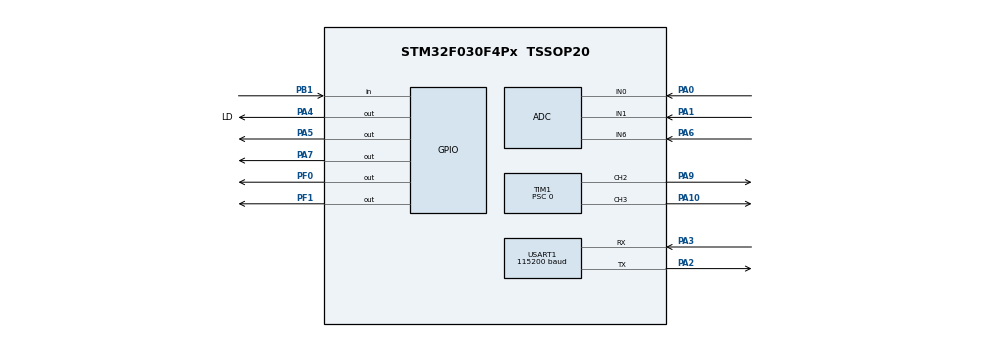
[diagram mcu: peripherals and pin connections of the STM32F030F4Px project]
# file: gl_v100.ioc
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ADC.DMAContinuousRequests=ENABLE
ADC.ExternalTrigConv=ADC_EXTERNALTRIGCONV_T3_TRGO
ADC.SamplingTime=ADC_SAMPLETIME_7CYCLES_5
Dma.ADC.0.Direction=DMA_PERIPH_TO_MEMORY
Dma.ADC.0.Instance=DMA1_Channel1
Dma.ADC.0.MemDataAlignment=DMA_MDATAALIGN_HALFWORD
Dma.ADC.0.MemInc=DMA_MINC_ENABLE
Dma.ADC.0.Mode=DMA_CIRCULAR
Dma.ADC.0.PeriphDataAlignment=DMA_PDATAALIGN_HALFWORD
Dma.ADC.0.PeriphInc=DMA_PINC_DISABLE
Dma.ADC.0.Priority=DMA_PRIORITY_LOW
Dma.Request0=ADC
Mcu.Family=STM32F0
Mcu.Name=STM32F030F4Px
Mcu.Package=TSSOP20
NVIC.DMA1_Channel1_IRQn=true\:1\:0\:true\:false\:true\:false
PA0.Mode=IN0
PA0.Signal=ADC_IN0
PA1.Mode=IN1
PA1.Signal=ADC_IN1
PA10.Signal=S_TIM1_CH3
PA13.Mode=Serial_Wire
PA13.Signal=SYS_SWDIO
PA14.Mode=Serial_Wire
PA14.Signal=SYS_SWCLK
PA2.GPIO_PuPd=GPIO_PULLUP
PA2.Mode=Asynchronous
PA2.Signal=USART1_TX
PA3.GPIO_PuPd=GPIO_PULLUP
PA3.Mode=Asynchronous
PA3.Signal=USART1_RX
PA4.GPIO_Label=LD
PA4.Signal=GPIO_Output
PA5.Signal=GPIO_Output
PA6.Mode=IN6
PA6.Signal=ADC_IN6
PA7.Signal=GPIO_Output
PA9.Signal=S_TIM1_CH2
PB1.Signal=GPIO_Input
PF0-OSC_IN.Signal=GPIO_Output
PF1-OSC_OUT.Signal=GPIO_Output
ProjectManager.HeapSize=0x200
ProjectManager.StackSize=0x400
ProjectManager.TargetToolchain=MDK-ARM V5
SH.S_TIM1_CH2.0=TIM1_CH2,PWM Generation2 CH2
SH.S_TIM1_CH3.0=TIM1_CH3,PWM Generation3 CH3
TIM1.Channel-PWM\ Generation2\ CH2=TIM_CHANNEL_2
TIM1.Channel-PWM\ Generation3\ CH3=TIM_CHANNEL_3
TIM1.OCMode_PWM-PWM\ Generation2\ CH2=TIM_OCMODE_PWM2
TIM1.OCMode_PWM-PWM\ Generation3\ CH3=TIM_OCMODE_PWM2
TIM1.OCPolarity_2=TIM_OCPOLARITY_LOW
TIM1.OCPolarity_3=TIM_OCPOLARITY_LOW
TIM1.Period=7999
TIM1.Prescaler=0
TIM1.Pulse-PWM\ Generation2\ CH2=3999
TIM1.Pulse-PWM\ Generation3\ CH3=1999
TIM3.Period=999
TIM3.Prescaler=799
TIM3.TIM_MasterOutputTrigger=TIM_TRGO_UPDATE
TIM3.TIM_MasterSlaveMode=TIM_MASTERSLAVEMODE_ENABLE
USART1.BaudRate=115200
USART1.VirtualMode-Asynchronous=VM_ASYNC
VP_TIM1_VS_ClockSourceINT.Mode=Internal
VP_TIM3_VS_ClockSourceINT.Mode=Internal
board=custom

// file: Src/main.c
/* USER CODE BEGIN Header */
/**
  ******************************************************************************
  * @file           : main.c
  * @brief          : Main program body
  ******************************************************************************
  ** This notice applies to any and all portions of this file
  * that are not between comment pairs USER CODE BEGIN and
  * USER CODE END. Other portions of this file, whether
  * inserted by the user or by software development tools
  * are owned by their respective copyright owners.
  *
  * COPYRIGHT(c) 2018 STMicroelectronics
  *
  * Redistribution and use in source and binary forms, with or without modification,
  * are permitted provided that the following conditions are met:
  *   1. Redistributions of source code must retain the above copyright notice,
  *      this list of conditions and the following disclaimer.
  *   2. Redistributions in binary form must reproduce the above copyright notice,
  *      this list of conditions and the following disclaimer in the documentation
  *      and/or other materials provided with the distribution.
  *   3. Neither the name of STMicroelectronics nor the names of its contributors
  *      may be used to endorse or promote products derived from this software
  *      without specific prior written permission.
  *
  * THIS SOFTWARE IS PROVIDED BY THE COPYRIGHT HOLDERS AND CONTRIBUTORS "AS IS"
  * AND ANY EXPRESS OR IMPLIED WARRANTIES, INCLUDING, BUT NOT LIMITED TO, THE
  * IMPLIED WARRANTIES OF MERCHANTABILITY AND FITNESS FOR A PARTICULAR PURPOSE ARE
  * DISCLAIMED. IN NO EVENT SHALL THE COPYRIGHT HOLDER OR CONTRIBUTORS BE LIABLE
  * FOR ANY DIRECT, INDIRECT, INCIDENTAL, SPECIAL, EXEMPLARY, OR CONSEQUENTIAL
  * DAMAGES (INCLUDING, BUT NOT LIMITED TO, PROCUREMENT OF SUBSTITUTE GOODS OR
  * SERVICES; LOSS OF USE, DATA, OR PROFITS; OR BUSINESS INTERRUPTION) HOWEVER
  * CAUSED AND ON ANY THEORY OF LIABILITY, WHETHER IN CONTRACT, STRICT LIABILITY,
  * OR TORT (INCLUDING NEGLIGENCE OR OTHERWISE) ARISING IN ANY WAY OUT OF THE USE
  * OF THIS SOFTWARE, EVEN IF ADVISED OF THE POSSIBILITY OF SUCH DAMAGE.
  *
  ******************************************************************************
  */
/* USER CODE END Header */

#include "main.h"

ADC_HandleTypeDef hadc;
DMA_HandleTypeDef hdma_adc;

TIM_HandleTypeDef htim1;
TIM_HandleTypeDef htim3;

UART_HandleTypeDef huart1;

/* USER CODE BEGIN PV */
uint16_t adc_read_buf[12];
/* USER CODE END PV */

void SystemClock_Config(void);
static void MX_GPIO_Init(void);
static void MX_DMA_Init(void);
static void MX_ADC_Init(void);
static void MX_USART1_UART_Init(void);
static void MX_TIM1_Init(void);
static void MX_TIM3_Init(void);
/* USER CODE BEGIN PFP */
uint8_t h_to_ascii(uint8_t in_hex);
uint8_t adc_print(uint8_t *acc_buf);

/* USER CODE END PFP */

/* USER CODE BEGIN 0 */
void HAL_ADC_ConvCpltCallback(ADC_HandleTypeDef* hadc)
{
    HAL_GPIO_TogglePin(LD_GPIO_Port,LD_Pin);
}

uint8_t adc_print(uint8_t *acc_buf)
{
	uint8_t *p_buff,cnt_len;

	p_buff = &acc_buf[0];

	memcpy(p_buff,"ADC0:",5);p_buff+=5;
	*p_buff++ = h_to_ascii((adc_read_buf[0]>>8));
	*p_buff++ = h_to_ascii((adc_read_buf[0]>>4));
	*p_buff++ = h_to_ascii((adc_read_buf[0]>>0));
	*p_buff++ = ' ';
	memcpy(p_buff,"ADC1:",5);p_buff+=5;
	*p_buff++ = h_to_ascii((adc_read_buf[1]>>8));
	*p_buff++ = h_to_ascii((adc_read_buf[1]>>4));
	*p_buff++ = h_to_ascii((adc_read_buf[1]>>0));
	*p_buff++ = ' ';
	memcpy(p_buff,"ADC6:",5);p_buff+=5;
	*p_buff++ = h_to_ascii((adc_read_buf[2]>>8));
	*p_buff++ = h_to_ascii((adc_read_buf[2]>>4));
	*p_buff++ = h_to_ascii((adc_read_buf[2]>>0));
	*p_buff++ = '\r';
	*p_buff++ = '\n';
	*p_buff = '\0';

	return ((uint8_t)(p_buff-&acc_buf[0]));
}

uint8_t h_to_ascii(uint8_t in_hex)
{
	uint8_t cal_val1,rtn_val;
	cal_val1 = (in_hex&0x0F);

	if ((cal_val1 >= 0) && (cal_val1 <= 9))
	{
		rtn_val = cal_val1+'0';
	}
	else if ((cal_val1 >= 0x0A) && (cal_val1 <= 0x0F))
	{
		rtn_val = cal_val1-0x0A+'A';
	}
	else
	{
		rtn_val = 0;
	}
	return rtn_val;
}
/* USER CODE END 0 */

int main(void)
{

  /* MCU Configuration--------------------------------------------------------*/

  /* Reset of all peripherals, Initializes the Flash interface and the Systick. */
  HAL_Init();

  /* Configure the system clock */
  SystemClock_Config();

  /* Initialize all configured peripherals */
  MX_GPIO_Init();
  MX_DMA_Init();
  MX_ADC_Init();
  MX_USART1_UART_Init();
  MX_TIM1_Init();
  MX_TIM3_Init();
  /* USER CODE BEGIN 2 */
	uint8_t tx_str[50] = "Try uart Test~\r\n", cnt_send_uart;

	HAL_ADCEx_Calibration_Start(&hadc);
	HAL_ADC_Start_DMA(&hadc,(uint32_t *)adc_read_buf,3);
	HAL_TIM_Base_Start(&htim3);
	HAL_TIM_PWM_Start(&htim1,TIM_CHANNEL_2);
	HAL_TIM_PWM_Start(&htim1,TIM_CHANNEL_3);
  /* USER CODE END 2 */

  /* Infinite loop */
  /* USER CODE BEGIN WHILE */
  while (1)
  {
		//HAL_GPIO_TogglePin(LD_GPIO_Port,LD_Pin);
		//HAL_UART_Transmit(&huart1,tx_str,16,100);
		cnt_send_uart = adc_print(tx_str);
		HAL_UART_Transmit(&huart1,tx_str,cnt_send_uart,100);
		HAL_Delay(100);
    /* USER CODE END WHILE */

  }
}

void SystemClock_Config(void)
{
  RCC_OscInitTypeDef RCC_OscInitStruct = {0};
  RCC_ClkInitTypeDef RCC_ClkInitStruct = {0};
  RCC_PeriphCLKInitTypeDef PeriphClkInit = {0};

  /**Initializes the CPU, AHB and APB busses clocks
  */
  RCC_OscInitStruct.OscillatorType = RCC_OSCILLATORTYPE_HSI|RCC_OSCILLATORTYPE_HSI14;
  RCC_OscInitStruct.HSIState = RCC_HSI_ON;
  RCC_OscInitStruct.HSI14State = RCC_HSI14_ON;
  RCC_OscInitStruct.HSICalibrationValue = RCC_HSICALIBRATION_DEFAULT;
  RCC_OscInitStruct.HSI14CalibrationValue = 16;
  RCC_OscInitStruct.PLL.PLLState = RCC_PLL_NONE;
  if (HAL_RCC_OscConfig(&RCC_OscInitStruct) != HAL_OK)
  {
    Error_Handler();
  }
  /**Initializes the CPU, AHB and APB busses clocks
  */
  RCC_ClkInitStruct.ClockType = RCC_CLOCKTYPE_HCLK|RCC_CLOCKTYPE_SYSCLK
                              |RCC_CLOCKTYPE_PCLK1;
  RCC_ClkInitStruct.SYSCLKSource = RCC_SYSCLKSOURCE_HSI;
  RCC_ClkInitStruct.AHBCLKDivider = RCC_SYSCLK_DIV1;
  RCC_ClkInitStruct.APB1CLKDivider = RCC_HCLK_DIV1;

  if (HAL_RCC_ClockConfig(&RCC_ClkInitStruct, FLASH_LATENCY_0) != HAL_OK)
  {
    Error_Handler();
  }
  PeriphClkInit.PeriphClockSelection = RCC_PERIPHCLK_USART1;
  PeriphClkInit.Usart1ClockSelection = RCC_USART1CLKSOURCE_PCLK1;
  if (HAL_RCCEx_PeriphCLKConfig(&PeriphClkInit) != HAL_OK)
  {
    Error_Handler();
  }
}

static void MX_ADC_Init(void)
{

  ADC_ChannelConfTypeDef sConfig = {0};

  /**Configure the global features of the ADC (Clock, Resolution, Data Alignment and number of conversion)
  */
  hadc.Instance = ADC1;
  hadc.Init.ClockPrescaler = ADC_CLOCK_ASYNC_DIV1;
  hadc.Init.Resolution = ADC_RESOLUTION_12B;
  hadc.Init.DataAlign = ADC_DATAALIGN_RIGHT;
  hadc.Init.ScanConvMode = ADC_SCAN_DIRECTION_FORWARD;
  hadc.Init.EOCSelection = ADC_EOC_SINGLE_CONV;
  hadc.Init.LowPowerAutoWait = DISABLE;
  hadc.Init.LowPowerAutoPowerOff = DISABLE;
  hadc.Init.ContinuousConvMode = DISABLE;
  hadc.Init.DiscontinuousConvMode = DISABLE;
  hadc.Init.ExternalTrigConv = ADC_EXTERNALTRIGCONV_T3_TRGO;
  hadc.Init.ExternalTrigConvEdge = ADC_EXTERNALTRIGCONVEDGE_RISING;
  hadc.Init.DMAContinuousRequests = ENABLE;
  hadc.Init.Overrun = ADC_OVR_DATA_PRESERVED;
  if (HAL_ADC_Init(&hadc) != HAL_OK)
  {
    Error_Handler();
  }
  /**Configure for the selected ADC regular channel to be converted.
  */
  sConfig.Channel = ADC_CHANNEL_0;
  sConfig.Rank = ADC_RANK_CHANNEL_NUMBER;
  sConfig.SamplingTime = ADC_SAMPLETIME_7CYCLES_5;
  if (HAL_ADC_ConfigChannel(&hadc, &sConfig) != HAL_OK)
  {
    Error_Handler();
  }
  /**Configure for the selected ADC regular channel to be converted.
  */
  sConfig.Channel = ADC_CHANNEL_1;
  if (HAL_ADC_ConfigChannel(&hadc, &sConfig) != HAL_OK)
  {
    Error_Handler();
  }
  /**Configure for the selected ADC regular channel to be converted.
  */
  sConfig.Channel = ADC_CHANNEL_6;
  if (HAL_ADC_ConfigChannel(&hadc, &sConfig) != HAL_OK)
  {
    Error_Handler();
  }

}

static void MX_TIM1_Init(void)
{

  TIM_ClockConfigTypeDef sClockSourceConfig = {0};
  TIM_MasterConfigTypeDef sMasterConfig = {0};
  TIM_OC_InitTypeDef sConfigOC = {0};
  TIM_BreakDeadTimeConfigTypeDef sBreakDeadTimeConfig = {0};

  htim1.Instance = TIM1;
  htim1.Init.Prescaler = 0;
  htim1.Init.CounterMode = TIM_COUNTERMODE_UP;
  htim1.Init.Period = 7999;
  htim1.Init.ClockDivision = TIM_CLOCKDIVISION_DIV1;
  htim1.Init.RepetitionCounter = 0;
  htim1.Init.AutoReloadPreload = TIM_AUTORELOAD_PRELOAD_DISABLE;
  if (HAL_TIM_Base_Init(&htim1) != HAL_OK)
  {
    Error_Handler();
  }
  sClockSourceConfig.ClockSource = TIM_CLOCKSOURCE_INTERNAL;
  if (HAL_TIM_ConfigClockSource(&htim1, &sClockSourceConfig) != HAL_OK)
  {
    Error_Handler();
  }
  if (HAL_TIM_PWM_Init(&htim1) != HAL_OK)
  {
    Error_Handler();
  }
  sMasterConfig.MasterOutputTrigger = TIM_TRGO_RESET;
  sMasterConfig.MasterSlaveMode = TIM_MASTERSLAVEMODE_DISABLE;
  if (HAL_TIMEx_MasterConfigSynchronization(&htim1, &sMasterConfig) != HAL_OK)
  {
    Error_Handler();
  }
  sConfigOC.OCMode = TIM_OCMODE_PWM2;
  sConfigOC.Pulse = 3999;
  sConfigOC.OCPolarity = TIM_OCPOLARITY_LOW;
  sConfigOC.OCNPolarity = TIM_OCNPOLARITY_HIGH;
  sConfigOC.OCFastMode = TIM_OCFAST_DISABLE;
  sConfigOC.OCIdleState = TIM_OCIDLESTATE_RESET;
  sConfigOC.OCNIdleState = TIM_OCNIDLESTATE_RESET;
  if (HAL_TIM_PWM_ConfigChannel(&htim1, &sConfigOC, TIM_CHANNEL_2) != HAL_OK)
  {
    Error_Handler();
  }
  sConfigOC.Pulse = 1999;
  if (HAL_TIM_PWM_ConfigChannel(&htim1, &sConfigOC, TIM_CHANNEL_3) != HAL_OK)
  {
    Error_Handler();
  }
  sBreakDeadTimeConfig.OffStateRunMode = TIM_OSSR_DISABLE;
  sBreakDeadTimeConfig.OffStateIDLEMode = TIM_OSSI_DISABLE;
  sBreakDeadTimeConfig.LockLevel = TIM_LOCKLEVEL_OFF;
  sBreakDeadTimeConfig.DeadTime = 0;
  sBreakDeadTimeConfig.BreakState = TIM_BREAK_DISABLE;
  sBreakDeadTimeConfig.BreakPolarity = TIM_BREAKPOLARITY_HIGH;
  sBreakDeadTimeConfig.AutomaticOutput = TIM_AUTOMATICOUTPUT_DISABLE;
  if (HAL_TIMEx_ConfigBreakDeadTime(&htim1, &sBreakDeadTimeConfig) != HAL_OK)
  {
    Error_Handler();
  }
  HAL_TIM_MspPostInit(&htim1);

}

static void MX_TIM3_Init(void)
{

  TIM_ClockConfigTypeDef sClockSourceConfig = {0};
  TIM_MasterConfigTypeDef sMasterConfig = {0};

  htim3.Instance = TIM3;
  htim3.Init.Prescaler = 799;
  htim3.Init.CounterMode = TIM_COUNTERMODE_UP;
  htim3.Init.Period = 999;
  htim3.Init.ClockDivision = TIM_CLOCKDIVISION_DIV1;
  htim3.Init.AutoReloadPreload = TIM_AUTORELOAD_PRELOAD_DISABLE;
  if (HAL_TIM_Base_Init(&htim3) != HAL_OK)
  {
    Error_Handler();
  }
  sClockSourceConfig.ClockSource = TIM_CLOCKSOURCE_INTERNAL;
  if (HAL_TIM_ConfigClockSource(&htim3, &sClockSourceConfig) != HAL_OK)
  {
    Error_Handler();
  }
  sMasterConfig.MasterOutputTrigger = TIM_TRGO_UPDATE;
  sMasterConfig.MasterSlaveMode = TIM_MASTERSLAVEMODE_ENABLE;
  if (HAL_TIMEx_MasterConfigSynchronization(&htim3, &sMasterConfig) != HAL_OK)
  {
    Error_Handler();
  }

}

static void MX_USART1_UART_Init(void)
{

  huart1.Instance = USART1;
  huart1.Init.BaudRate = 115200;
  huart1.Init.WordLength = UART_WORDLENGTH_8B;
  huart1.Init.StopBits = UART_STOPBITS_1;
  huart1.Init.Parity = UART_PARITY_NONE;
  huart1.Init.Mode = UART_MODE_TX_RX;
  huart1.Init.HwFlowCtl = UART_HWCONTROL_NONE;
  huart1.Init.OverSampling = UART_OVERSAMPLING_16;
  huart1.Init.OneBitSampling = UART_ONE_BIT_SAMPLE_DISABLE;
  huart1.AdvancedInit.AdvFeatureInit = UART_ADVFEATURE_NO_INIT;
  if (HAL_UART_Init(&huart1) != HAL_OK)
  {
    Error_Handler();
  }

}

static void MX_DMA_Init(void)
{
  /* DMA controller clock enable */
  __HAL_RCC_DMA1_CLK_ENABLE();

  /* DMA interrupt init */
  /* DMA1_Channel1_IRQn interrupt configuration */
  HAL_NVIC_SetPriority(DMA1_Channel1_IRQn, 1, 0);
  HAL_NVIC_EnableIRQ(DMA1_Channel1_IRQn);

}

static void MX_GPIO_Init(void)
{
  GPIO_InitTypeDef GPIO_InitStruct = {0};

  /* GPIO Ports Clock Enable */
  __HAL_RCC_GPIOF_CLK_ENABLE();
  __HAL_RCC_GPIOA_CLK_ENABLE();
  __HAL_RCC_GPIOB_CLK_ENABLE();

  /*Configure GPIO pin Output Level */
  HAL_GPIO_WritePin(GPIOF, GPIO_PIN_0|GPIO_PIN_1, GPIO_PIN_RESET);

  /*Configure GPIO pin Output Level */
  HAL_GPIO_WritePin(GPIOA, LD_Pin|GPIO_PIN_5|GPIO_PIN_7, GPIO_PIN_RESET);

  /*Configure GPIO pins : PF0 PF1 */
  GPIO_InitStruct.Pin = GPIO_PIN_0|GPIO_PIN_1;
  GPIO_InitStruct.Mode = GPIO_MODE_OUTPUT_PP;
  GPIO_InitStruct.Pull = GPIO_NOPULL;
  GPIO_InitStruct.Speed = GPIO_SPEED_FREQ_LOW;
  HAL_GPIO_Init(GPIOF, &GPIO_InitStruct);

  /*Configure GPIO pins : LD_Pin PA5 PA7 */
  GPIO_InitStruct.Pin = LD_Pin|GPIO_PIN_5|GPIO_PIN_7;
  GPIO_InitStruct.Mode = GPIO_MODE_OUTPUT_PP;
  GPIO_InitStruct.Pull = GPIO_NOPULL;
  GPIO_InitStruct.Speed = GPIO_SPEED_FREQ_LOW;
  HAL_GPIO_Init(GPIOA, &GPIO_InitStruct);

  /*Configure GPIO pin : PB1 */
  GPIO_InitStruct.Pin = GPIO_PIN_1;
  GPIO_InitStruct.Mode = GPIO_MODE_INPUT;
  GPIO_InitStruct.Pull = GPIO_NOPULL;
  HAL_GPIO_Init(GPIOB, &GPIO_InitStruct);

}

void Error_Handler(void)
{
}

/************************ (C) COPYRIGHT STMicroelectronics *****END OF FILE****/
